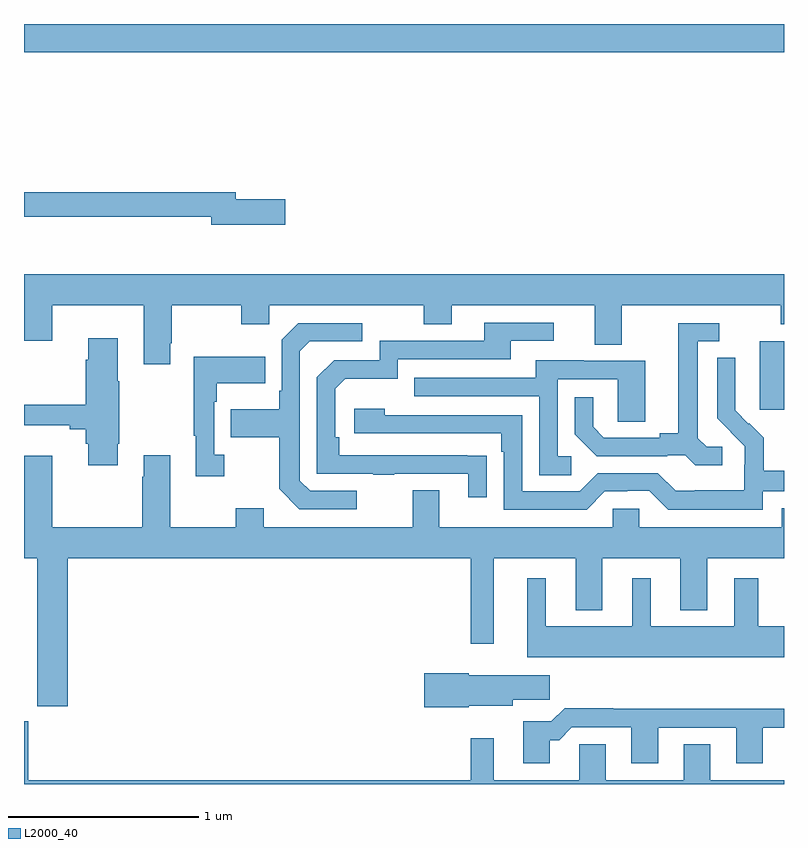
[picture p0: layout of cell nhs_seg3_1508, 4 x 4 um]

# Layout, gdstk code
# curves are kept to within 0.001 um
import gdstk
lib = gdstk.Library(unit=1e-6, precision=1e-09)
def R(c, l, rs):  # rectangles x0, y0, x1, y1
    for r in rs: c.add(gdstk.rectangle(r[:2], r[2:], *l))
def P(c, l, *ps):  # polygons
    for p in ps: c.add(gdstk.Polygon(p, *l))
L2000_40 = (2000, 40)

nhs_seg3_1508 = lib.new_cell('nhs_seg3_1508')
R(nhs_seg3_1508, L2000_40, [(192.872,696.369,193,696.73), (189,698.252,193,698.4)])
P(nhs_seg3_1508, L2000_40, [(190.375,697.478),(190.114,697.478),(190.114,697.514),(189,697.514),(189,697.386),(189.986,697.386),(189.986,697.343),(190.375,697.343)],
  [(189.769,696.721),(189.777,696.721),(189.777,696.92),(190.144,696.92),(190.144,696.821),(190.29,696.821),(190.29,696.92),(191.104,696.92),(191.104,696.821),(191.251,696.821),(191.251,696.92),(192.005,696.92),(192.005,696.712),(192.145,696.712),(192.145,696.92),(192.982,696.92),(192.982,696.821),(193,696.821),(193,697.084),(189,697.084),(189,696.732),(189.148,696.732),(189.148,696.92),(189.629,696.92),(189.629,696.609),(189.769,696.609)],
  [(191.435,696.128),(190.658,696.129),(190.658,696.226),(190.638,696.226),(190.638,696.48),(190.691,696.533),(190.968,696.533),(190.968,696.636),(191.563,696.636),(191.563,696.732),(191.788,696.732),(191.788,696.828),(191.423,696.828),(191.423,696.732),(190.872,696.732),(190.872,696.63),(190.632,696.63),(190.542,696.54),(190.542,696.033),(190.837,696.033),(190.837,696.028),(190.949,696.028),(190.949,696.033),(191.339,696.033),(191.339,695.91),(191.435,695.91)],
  [(190.75,695.943),(190.506,695.943),(190.452,695.997),(190.452,696.678),(190.503,696.729),(190.78,696.729),(190.78,696.825),(190.443,696.825),(190.356,696.738),(190.356,696.469),(190.344,696.469),(190.344,696.373),(190.087,696.373),(190.087,696.226),(190.344,696.226),(190.344,695.953),(190.449,695.847),(190.75,695.847)],
  [(192.676,696.174),(192.594,696.174),(192.547,696.221),(192.547,696.729),(192.658,696.729),(192.658,696.825),(192.443,696.825),(192.443,696.245),(192.347,696.245),(192.347,696.222),(192.052,696.222),(191.995,696.279),(191.995,696.436),(191.898,696.436),(191.898,696.242),(192.014,696.126),(192.386,696.126),(192.386,696.129),(192.48,696.129),(192.532,696.077),(192.676,696.077)],
  [(189.493,696.19),(189.501,696.19),(189.501,696.521),(189.493,696.521),(189.493,696.745),(189.338,696.745),(189.338,696.632),(189.326,696.632),(189.326,696.397),(189,696.397),(189,696.287),(189.242,696.287),(189.242,696.268),(189.326,696.268),(189.326,696.191),(189.338,696.191),(189.338,696.078),(189.493,696.078)],
  [(190.054,696.134),(190.002,696.134),(190.002,696.413),(190.015,696.413),(190.015,696.509),(190.271,696.509),(190.271,696.649),(189.894,696.649),(189.894,696.233),(189.905,696.233),(189.905,696.021),(190.054,696.021)],
  [(192.888,695.94),(193,695.94),(193,696.049),(192.893,696.049),(192.893,696.223),(192.816,696.3),(192.813,696.297),(192.743,696.368),(192.744,696.644),(192.648,696.644),(192.648,696.326),(192.794,696.178),(192.794,696.081),(192.792,696.081),(192.792,695.947),(192.529,695.947),(192.529,695.943),(192.429,695.943),(192.336,696.036),(192.021,696.036),(191.925,695.94),(191.622,695.94),(191.622,696.342),(190.898,696.342),(190.898,696.376),(190.737,696.376),(190.737,696.246),(191.513,696.246),(191.513,696.149),(191.526,696.149),(191.526,695.844),(191.961,695.844),(192.057,695.94),(192.176,695.94),(192.176,695.943),(192.291,695.943),(192.391,695.843),(192.888,695.843)],
  [(191.881,696.126),(191.808,696.126),(191.808,696.531),(192.126,696.531),(192.126,696.307),(192.271,696.307),(192.271,696.627),(191.947,696.627),(191.947,696.631),(191.693,696.631),(191.693,696.537),(191.053,696.537),(191.053,696.441),(191.712,696.441),(191.712,696.025),(191.881,696.025)],
  [(189.23,695.588),(191.352,695.588),(191.352,695.139),(191.473,695.139),(191.473,695.588),(191.903,695.588),(191.903,695.315),(192.043,695.315),(192.043,695.588),(192.455,695.588),(192.455,695.315),(192.595,695.315),(192.595,695.588),(193,695.588),(193,695.851),(192.989,695.851),(192.989,695.752),(192.237,695.752),(192.237,695.85),(192.099,695.85),(192.099,695.752),(191.185,695.752),(191.185,695.947),(191.045,695.947),(191.045,695.752),(190.261,695.752),(190.261,695.851),(190.114,695.851),(190.114,695.752),(189.769,695.752),(189.769,696.13),(189.629,696.13),(189.629,696.017),(189.622,696.017),(189.622,695.752),(189.148,695.752),(189.148,696.127),(189,696.127),(189,695.588),(189.07,695.588),(189.07,694.809),(189.23,694.809)],
  [(193,695.23),(192.865,695.23),(192.865,695.482),(192.737,695.482),(192.737,695.23),(192.298,695.23),(192.298,695.482),(192.2,695.482),(192.2,695.23),(191.746,695.23),(191.746,695.482),(191.648,695.482),(191.648,695.066),(193,695.066)],
  [(191.34,694.811),(191.572,694.811),(191.572,694.843),(191.767,694.843),(191.767,694.972),(191.34,694.972),(191.34,694.982),(191.106,694.982),(191.106,694.804),(191.34,694.804)],
  [(191.767,694.631),(191.816,694.631),(191.883,694.698),(192.197,694.698),(192.197,694.509),(192.337,694.509),(192.337,694.695),(192.749,694.695),(192.749,694.509),(192.889,694.509),(192.889,694.695),(193,694.695),(193,694.796),(192.101,694.796),(192.101,694.799),(191.846,694.799),(191.776,694.729),(191.627,694.729),(191.627,694.509),(191.767,694.509)],
  [(193,694.42),(192.613,694.42),(192.613,694.61),(192.473,694.61),(192.473,694.42),(192.061,694.42),(192.061,694.61),(191.922,694.61),(191.922,694.42),(191.473,694.42),(191.473,694.642),(191.352,694.642),(191.352,694.42),(189.022,694.42),(189.022,694.729),(189,694.729),(189,694.4),(193,694.4)])

lib.write_gds('nhs_seg3_1508.gds')
